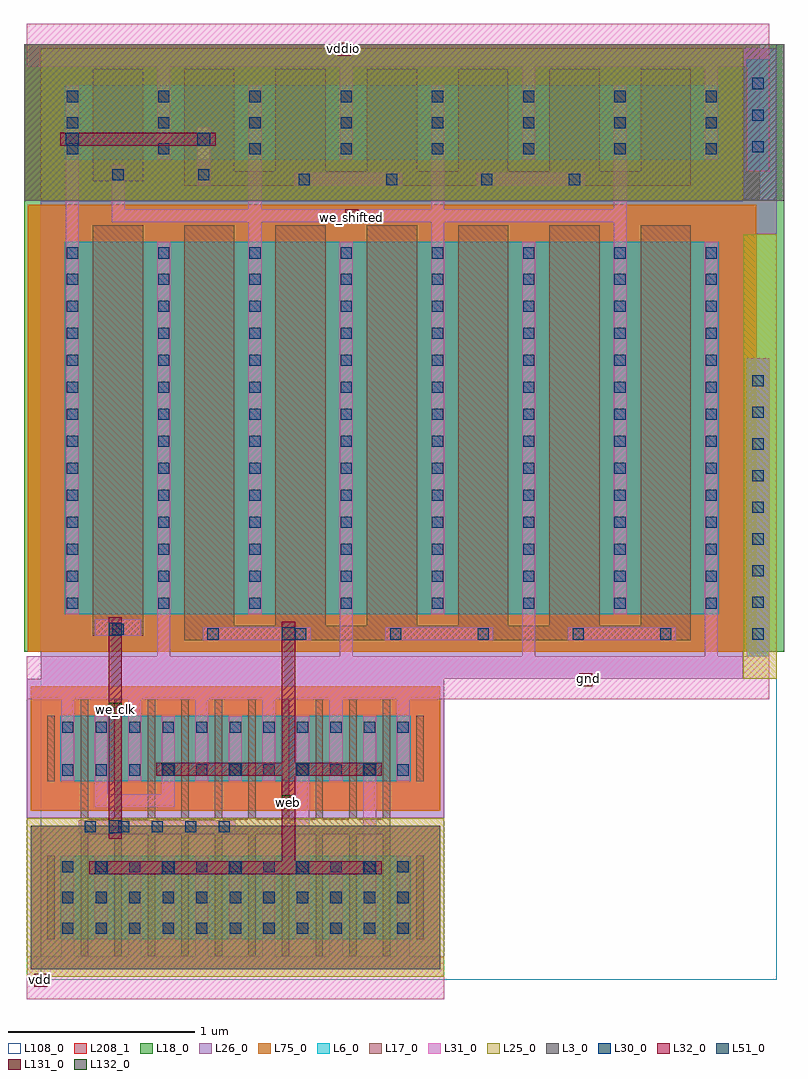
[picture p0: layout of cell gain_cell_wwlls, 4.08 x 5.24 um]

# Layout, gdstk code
from math import pi, radians
import gdstk
lib = gdstk.Library(unit=1e-6, precision=1e-09)
def R(c, l, rs):  # rectangles x0, y0, x1, y1
    for r in rs: c.add(gdstk.rectangle(r[:2], r[2:], *l))
def A(c, l, x, y, w, h, nx, ny, dx, dy):  # array of equal rectangles
    R(c, l, [(x+i*dx, y+j*dy, x+i*dx+w, y+j*dy+h) for i in range(nx) for j in range(ny)])
L3_0 = (3, 0)
L6_0 = (6, 0)
L17_0 = (17, 0)
L18_0 = (18, 0)
L25_0 = (25, 0)
L26_0 = (26, 0)
L30_0 = (30, 0)
L31_0 = (31, 0)
L32_0 = (32, 0)
L51_0 = (51, 0)
L75_0 = (75, 0)
L108_0 = (108, 0)
L131_0 = (131, 0)
L132_0 = (132, 0)
L208_1 = (208, 1)

pch_mac_cdns_74492003394 = lib.new_cell('pch_mac_CDNS_744920033940')
R(pch_mac_cdns_74492003394, L3_0, [(-0.27,-0.16,1.93,0.61)])
R(pch_mac_cdns_74492003394, L6_0, [(-0.11,0,0,0.45), (0,0,0.04,0.45), (0.04,0,1.66,0.45), (1.66,0,1.77,0.45)])
A(pch_mac_cdns_74492003394, L17_0, 0, -0.09, 0.04, 0.09, 10, 2, 0.18, 0.54)
A(pch_mac_cdns_74492003394, L17_0, -0.18, 0, 0.04, 0.45, 12, 1, 0.18, 0)
R(pch_mac_cdns_74492003394, L25_0, [(-0.29,-0.2,-0.24,0.65), (-0.24,-0.2,1.9,0.65), (1.9,-0.2,1.95,0.65)])
A(pch_mac_cdns_74492003394, L30_0, -0.1, 0.03, 0.06, 0.06, 11, 3, 0.18, 0.165)
A(pch_mac_cdns_74492003394, L31_0, -0.105, 0, 0.07, 0.45, 11, 1, 0.18, 0)
R(pch_mac_cdns_74492003394, L208_1, [(-0.27,-0.16,1.93,0.61)])
pch_mac_cdns_74492003394.add(gdstk.Label('& SerialNumber 000000', (0,0), layer=63, texttype=63))
pch_mac_cdns_74492003394.add(gdstk.Label('& Distributor TSMC', (0,0), layer=63, texttype=63))
pch_mac_cdns_74492003394.add(gdstk.Label('& Metric 1', (0,0), layer=63, texttype=63))
pch_mac_cdns_74492003394.add(gdstk.Label('& PDK Version "tsmcN40_CRN40ULP_v1.5_2b_20200409"', (0,0), layer=63, texttype=63))
pch_mac_cdns_74492003394.add(gdstk.Label('& PDK TechNode "CRN40ULP"', (0,0), layer=63, texttype=63))
pch_mac_cdns_74492003394.add(gdstk.Label('& Product    tsmcN40_PDK', (0,0), layer=63, texttype=63))
pch_mac_cdns_74492003394.add(gdstk.Label('& Vendor     Taiwan Semiconductor manufacturing Corp.', (0,0), layer=63, texttype=63))
pch_mac_cdns_74492003394.add(gdstk.Label('[@instanceName]', (0.02,0.225), layer=127, texttype=0))
pch_mac_cdns_74492003394.add(gdstk.Label('4.5/0.04', (0,0), layer=127, texttype=0))
pch_mac_cdns_74492003394.add(gdstk.Label('pch_mac', (0,0.045), layer=127, texttype=0))
pch_mac_cdns_74492003394.add(gdstk.Label('D', (0.11,0.225), layer=127, texttype=0))
pch_mac_cdns_74492003394.add(gdstk.Label('S', (0.29,0.225), layer=127, texttype=0))
pch_mac_cdns_74492003394.add(gdstk.Label('D', (0.47,0.225), layer=127, texttype=0))
pch_mac_cdns_74492003394.add(gdstk.Label('S', (0.65,0.225), layer=127, texttype=0))
pch_mac_cdns_74492003394.add(gdstk.Label('D', (0.83,0.225), layer=127, texttype=0))
pch_mac_cdns_74492003394.add(gdstk.Label('S', (1.01,0.225), layer=127, texttype=0))
pch_mac_cdns_74492003394.add(gdstk.Label('D', (1.19,0.225), layer=127, texttype=0))
pch_mac_cdns_74492003394.add(gdstk.Label('S', (1.37,0.225), layer=127, texttype=0))
pch_mac_cdns_74492003394.add(gdstk.Label('D', (1.55,0.225), layer=127, texttype=0))
pch_mac_cdns_74492003394.add(gdstk.Label('S', (1.73,0.225), layer=127, texttype=0))
pch_mac_cdns_74492003394.add(gdstk.Label('S', (-0.07,0.225), layer=127, texttype=0))

nch_mac_cdns_74492003394 = lib.new_cell('nch_mac_CDNS_744920033941')
R(nch_mac_cdns_74492003394, L6_0, [(-0.11,0,0,0.35), (0,0,0.04,0.35), (0.04,0,1.66,0.35), (1.66,0,1.77,0.35)])
A(nch_mac_cdns_74492003394, L17_0, 0, -0.09, 0.04, 0.09, 10, 2, 0.18, 0.44)
A(nch_mac_cdns_74492003394, L17_0, -0.18, 0, 0.04, 0.35, 12, 1, 0.18, 0)
R(nch_mac_cdns_74492003394, L26_0, [(-0.29,-0.2,-0.24,0.55), (-0.24,-0.2,1.9,0.55), (1.9,-0.2,1.95,0.55)])
A(nch_mac_cdns_74492003394, L30_0, -0.1, 0.03, 0.06, 0.06, 11, 2, 0.18, 0.23)
A(nch_mac_cdns_74492003394, L31_0, -0.105, 0, 0.07, 0.35, 11, 1, 0.18, 0)
R(nch_mac_cdns_74492003394, L75_0, [(-0.27,-0.16,1.93,0.51)])
R(nch_mac_cdns_74492003394, L208_1, [(-0.27,-0.16,1.93,0.51)])
nch_mac_cdns_74492003394.add(gdstk.Label('& SerialNumber 000000', (0,0), layer=63, texttype=63))
nch_mac_cdns_74492003394.add(gdstk.Label('& Distributor TSMC', (0,0), layer=63, texttype=63))
nch_mac_cdns_74492003394.add(gdstk.Label('& Metric 1', (0,0), layer=63, texttype=63))
nch_mac_cdns_74492003394.add(gdstk.Label('& PDK Version "tsmcN40_CRN40ULP_v1.5_2b_20200409"', (0,0), layer=63, texttype=63))
nch_mac_cdns_74492003394.add(gdstk.Label('& PDK TechNode "CRN40ULP"', (0,0), layer=63, texttype=63))
nch_mac_cdns_74492003394.add(gdstk.Label('& Product    tsmcN40_PDK', (0,0), layer=63, texttype=63))
nch_mac_cdns_74492003394.add(gdstk.Label('& Vendor     Taiwan Semiconductor manufacturing Corp.', (0,0), layer=63, texttype=63))
nch_mac_cdns_74492003394.add(gdstk.Label('[@instanceName]', (0.02,0.175), layer=127, texttype=0))
nch_mac_cdns_74492003394.add(gdstk.Label('3.5/0.04', (0,0), layer=127, texttype=0))
nch_mac_cdns_74492003394.add(gdstk.Label('nch_mac', (0,0.045), layer=127, texttype=0))
nch_mac_cdns_74492003394.add(gdstk.Label('D', (0.11,0.175), layer=127, texttype=0))
nch_mac_cdns_74492003394.add(gdstk.Label('S', (0.29,0.175), layer=127, texttype=0))
nch_mac_cdns_74492003394.add(gdstk.Label('D', (0.47,0.175), layer=127, texttype=0))
nch_mac_cdns_74492003394.add(gdstk.Label('S', (0.65,0.175), layer=127, texttype=0))
nch_mac_cdns_74492003394.add(gdstk.Label('D', (0.83,0.175), layer=127, texttype=0))
nch_mac_cdns_74492003394.add(gdstk.Label('S', (1.01,0.175), layer=127, texttype=0))
nch_mac_cdns_74492003394.add(gdstk.Label('D', (1.19,0.175), layer=127, texttype=0))
nch_mac_cdns_74492003394.add(gdstk.Label('S', (1.37,0.175), layer=127, texttype=0))
nch_mac_cdns_74492003394.add(gdstk.Label('D', (1.55,0.175), layer=127, texttype=0))
nch_mac_cdns_74492003394.add(gdstk.Label('S', (1.73,0.175), layer=127, texttype=0))
nch_mac_cdns_74492003394.add(gdstk.Label('S', (-0.07,0.175), layer=127, texttype=0))

pch_25_mac_cdns_74492003 = lib.new_cell('pch_25_mac_CDNS_744920033942')
R(pch_25_mac_cdns_74492003, L3_0, [(-0.37,-0.22,0.64,0.62)])
R(pch_25_mac_cdns_74492003, L6_0, [(-0.15,0,0,0.4), (0,0,0.27,0.4), (0.27,0,0.42,0.4)])
R(pch_25_mac_cdns_74492003, L17_0, [(0,-0.09,0.27,0), (0,0,0.27,0.4), (0,0.4,0.27,0.49)])
R(pch_25_mac_cdns_74492003, L18_0, [(-0.37,-0.22,0.64,0.62)])
R(pch_25_mac_cdns_74492003, L25_0, [(-0.28,-0.2,0.55,0.6)])
A(pch_25_mac_cdns_74492003, L30_0, -0.14, 0.03, 0.06, 0.06, 1, 3, 0, 0.14)
A(pch_25_mac_cdns_74492003, L30_0, 0.35, 0.03, 0.06, 0.06, 1, 3, 0, 0.14)
R(pch_25_mac_cdns_74492003, L31_0, [(-0.145,0,-0.075,0.4), (0.345,0,0.415,0.4)])
R(pch_25_mac_cdns_74492003, L208_1, [(-0.37,-0.22,0.64,0.62)])
pch_25_mac_cdns_74492003.add(gdstk.Label('& SerialNumber 000000', (0,0), layer=63, texttype=63))
pch_25_mac_cdns_74492003.add(gdstk.Label('& Distributor TSMC', (0,0), layer=63, texttype=63))
pch_25_mac_cdns_74492003.add(gdstk.Label('& Metric 1', (0,0), layer=63, texttype=63))
pch_25_mac_cdns_74492003.add(gdstk.Label('& PDK Version "tsmcN40_CRN40ULP_v1.5_2b_20200409"', (0,0), layer=63, texttype=63))
pch_25_mac_cdns_74492003.add(gdstk.Label('& PDK TechNode "CRN40ULP"', (0,0), layer=63, texttype=63))
pch_25_mac_cdns_74492003.add(gdstk.Label('& Product    tsmcN40_PDK', (0,0), layer=63, texttype=63))
pch_25_mac_cdns_74492003.add(gdstk.Label('& Vendor     Taiwan Semiconductor manufacturing Corp.', (0,0), layer=63, texttype=63))
pch_25_mac_cdns_74492003.add(gdstk.Label('[@instanceName]', (0.135,0.2), layer=127, texttype=0))
pch_25_mac_cdns_74492003.add(gdstk.Label('0.4/0.27', (0,0), layer=127, texttype=0))
pch_25_mac_cdns_74492003.add(gdstk.Label('pch_25_mac', (0,0.045), layer=127, texttype=0))
pch_25_mac_cdns_74492003.add(gdstk.Label('D', (0.38,0.2), layer=127, texttype=0))
pch_25_mac_cdns_74492003.add(gdstk.Label('S', (-0.11,0.2), layer=127, texttype=0))

nch_25_mac_cdns_74492003 = lib.new_cell('nch_25_mac_CDNS_744920033943')
R(nch_25_mac_cdns_74492003, L6_0, [(-0.15,0,0,2), (0,0,0.27,2), (0.27,0,0.42,2)])
R(nch_25_mac_cdns_74492003, L17_0, [(0,-0.09,0.27,0), (0,0,0.27,2), (0,2,0.27,2.09)])
R(nch_25_mac_cdns_74492003, L18_0, [(-0.35,-0.2,0.62,2.2)])
R(nch_25_mac_cdns_74492003, L26_0, [(-0.28,-0.2,0.55,2.2)])
A(nch_25_mac_cdns_74492003, L30_0, -0.14, 0.03, 0.06, 0.06, 1, 13, 0, 0.145)
A(nch_25_mac_cdns_74492003, L30_0, 0.35, 0.03, 0.06, 0.06, 1, 13, 0, 0.145)
R(nch_25_mac_cdns_74492003, L30_0, [(-0.14,1.91,-0.08,1.97), (0.35,1.91,0.41,1.97)])
R(nch_25_mac_cdns_74492003, L31_0, [(-0.145,0,-0.075,2), (0.345,0,0.415,2)])
R(nch_25_mac_cdns_74492003, L75_0, [(-0.35,-0.2,0.62,2.2)])
R(nch_25_mac_cdns_74492003, L208_1, [(-0.35,-0.2,0.62,2.2)])
nch_25_mac_cdns_74492003.add(gdstk.Label('& SerialNumber 000000', (0,0), layer=63, texttype=63))
nch_25_mac_cdns_74492003.add(gdstk.Label('& Distributor TSMC', (0,0), layer=63, texttype=63))
nch_25_mac_cdns_74492003.add(gdstk.Label('& Metric 1', (0,0), layer=63, texttype=63))
nch_25_mac_cdns_74492003.add(gdstk.Label('& PDK Version "tsmcN40_CRN40ULP_v1.5_2b_20200409"', (0,0), layer=63, texttype=63))
nch_25_mac_cdns_74492003.add(gdstk.Label('& PDK TechNode "CRN40ULP"', (0,0), layer=63, texttype=63))
nch_25_mac_cdns_74492003.add(gdstk.Label('& Product    tsmcN40_PDK', (0,0), layer=63, texttype=63))
nch_25_mac_cdns_74492003.add(gdstk.Label('& Vendor     Taiwan Semiconductor manufacturing Corp.', (0,0), layer=63, texttype=63))
nch_25_mac_cdns_74492003.add(gdstk.Label('[@instanceName]', (0.135,1), layer=127, texttype=0))
nch_25_mac_cdns_74492003.add(gdstk.Label('2.0/0.27', (0,0), layer=127, texttype=0))
nch_25_mac_cdns_74492003.add(gdstk.Label('nch_25_mac', (0,0.045), layer=127, texttype=0))
nch_25_mac_cdns_74492003.add(gdstk.Label('D', (0.38,1), layer=127, texttype=0))
nch_25_mac_cdns_74492003.add(gdstk.Label('S', (-0.11,1), layer=127, texttype=0))

c_nch_25_mac_cdns_74492003 = lib.new_cell('nch_25_mac_CDNS_744920033944')
R(c_nch_25_mac_cdns_74492003, L6_0, [(-0.15,0,0,2), (0,0,0.27,2), (0.27,0,2.72,2), (2.72,0,2.87,2)])
A(c_nch_25_mac_cdns_74492003, L17_0, 0, -0.09, 0.27, 0.09, 6, 2, 0.49, 2.09)
A(c_nch_25_mac_cdns_74492003, L17_0, 0, 0, 0.27, 2, 6, 1, 0.49, 0)
R(c_nch_25_mac_cdns_74492003, L18_0, [(-0.35,-0.2,3.07,2.2)])
R(c_nch_25_mac_cdns_74492003, L26_0, [(-0.28,-0.2,3,2.2)])
A(c_nch_25_mac_cdns_74492003, L30_0, -0.14, 0.03, 0.06, 0.06, 7, 13, 0.49, 0.145)
A(c_nch_25_mac_cdns_74492003, L30_0, -0.14, 1.91, 0.06, 0.06, 7, 1, 0.49, 0)
A(c_nch_25_mac_cdns_74492003, L31_0, -0.145, 0, 0.07, 2, 7, 1, 0.49, 0)
R(c_nch_25_mac_cdns_74492003, L75_0, [(-0.35,-0.2,3.07,2.2)])
R(c_nch_25_mac_cdns_74492003, L208_1, [(-0.35,-0.2,3.07,2.2)])
c_nch_25_mac_cdns_74492003.add(gdstk.Label('& SerialNumber 000000', (0,0), layer=63, texttype=63))
c_nch_25_mac_cdns_74492003.add(gdstk.Label('& Distributor TSMC', (0,0), layer=63, texttype=63))
c_nch_25_mac_cdns_74492003.add(gdstk.Label('& Metric 1', (0,0), layer=63, texttype=63))
c_nch_25_mac_cdns_74492003.add(gdstk.Label('& PDK Version "tsmcN40_CRN40ULP_v1.5_2b_20200409"', (0,0), layer=63, texttype=63))
c_nch_25_mac_cdns_74492003.add(gdstk.Label('& PDK TechNode "CRN40ULP"', (0,0), layer=63, texttype=63))
c_nch_25_mac_cdns_74492003.add(gdstk.Label('& Product    tsmcN40_PDK', (0,0), layer=63, texttype=63))
c_nch_25_mac_cdns_74492003.add(gdstk.Label('& Vendor     Taiwan Semiconductor manufacturing Corp.', (0,0), layer=63, texttype=63))
c_nch_25_mac_cdns_74492003.add(gdstk.Label('[@instanceName]', (0.135,1), layer=127, texttype=0))
c_nch_25_mac_cdns_74492003.add(gdstk.Label('12.0/0.27', (0,0), layer=127, texttype=0))
c_nch_25_mac_cdns_74492003.add(gdstk.Label('nch_25_mac', (0,0.045), layer=127, texttype=0))
c_nch_25_mac_cdns_74492003.add(gdstk.Label('D', (0.38,1), layer=127, texttype=0))
c_nch_25_mac_cdns_74492003.add(gdstk.Label('S', (0.87,1), layer=127, texttype=0))
c_nch_25_mac_cdns_74492003.add(gdstk.Label('D', (1.36,1), layer=127, texttype=0))
c_nch_25_mac_cdns_74492003.add(gdstk.Label('S', (1.85,1), layer=127, texttype=0))
c_nch_25_mac_cdns_74492003.add(gdstk.Label('D', (2.34,1), layer=127, texttype=0))
c_nch_25_mac_cdns_74492003.add(gdstk.Label('S', (2.83,1), layer=127, texttype=0))
c_nch_25_mac_cdns_74492003.add(gdstk.Label('S', (-0.11,1), layer=127, texttype=0))

m2_m1c_cdns_744920033945 = lib.new_cell('M2_M1c_CDNS_744920033945')
R(m2_m1c_cdns_744920033945, L31_0, [(-0.035,-0.065,0.035,0.065)])
R(m2_m1c_cdns_744920033945, L32_0, [(-0.065,-0.035,0.065,0.035)])
R(m2_m1c_cdns_744920033945, L51_0, [(-0.035,-0.035,0.035,0.035)])

c_pch_25_mac_cdns_74492003 = lib.new_cell('pch_25_mac_CDNS_744920033946')
R(c_pch_25_mac_cdns_74492003, L3_0, [(-0.37,-0.22,3.09,0.62)])
R(c_pch_25_mac_cdns_74492003, L6_0, [(-0.15,0,0,0.4), (0,0,0.27,0.4), (0.27,0,2.72,0.4), (2.72,0,2.87,0.4)])
A(c_pch_25_mac_cdns_74492003, L17_0, 0, -0.09, 0.27, 0.09, 6, 2, 0.49, 0.49)
A(c_pch_25_mac_cdns_74492003, L17_0, 0, 0, 0.27, 0.4, 6, 1, 0.49, 0)
R(c_pch_25_mac_cdns_74492003, L18_0, [(-0.37,-0.22,3.09,0.62)])
R(c_pch_25_mac_cdns_74492003, L25_0, [(-0.28,-0.2,3,0.6)])
A(c_pch_25_mac_cdns_74492003, L30_0, -0.14, 0.03, 0.06, 0.06, 7, 3, 0.49, 0.14)
A(c_pch_25_mac_cdns_74492003, L31_0, -0.145, 0, 0.07, 0.4, 7, 1, 0.49, 0)
R(c_pch_25_mac_cdns_74492003, L208_1, [(-0.37,-0.22,3.09,0.62)])
c_pch_25_mac_cdns_74492003.add(gdstk.Label('& SerialNumber 000000', (0,0), layer=63, texttype=63))
c_pch_25_mac_cdns_74492003.add(gdstk.Label('& Distributor TSMC', (0,0), layer=63, texttype=63))
c_pch_25_mac_cdns_74492003.add(gdstk.Label('& Metric 1', (0,0), layer=63, texttype=63))
c_pch_25_mac_cdns_74492003.add(gdstk.Label('& PDK Version "tsmcN40_CRN40ULP_v1.5_2b_20200409"', (0,0), layer=63, texttype=63))
c_pch_25_mac_cdns_74492003.add(gdstk.Label('& PDK TechNode "CRN40ULP"', (0,0), layer=63, texttype=63))
c_pch_25_mac_cdns_74492003.add(gdstk.Label('& Product    tsmcN40_PDK', (0,0), layer=63, texttype=63))
c_pch_25_mac_cdns_74492003.add(gdstk.Label('& Vendor     Taiwan Semiconductor manufacturing Corp.', (0,0), layer=63, texttype=63))
c_pch_25_mac_cdns_74492003.add(gdstk.Label('[@instanceName]', (0.135,0.2), layer=127, texttype=0))
c_pch_25_mac_cdns_74492003.add(gdstk.Label('2.4/0.27', (0,0), layer=127, texttype=0))
c_pch_25_mac_cdns_74492003.add(gdstk.Label('pch_25_mac', (0,0.045), layer=127, texttype=0))
c_pch_25_mac_cdns_74492003.add(gdstk.Label('D', (0.38,0.2), layer=127, texttype=0))
c_pch_25_mac_cdns_74492003.add(gdstk.Label('S', (0.87,0.2), layer=127, texttype=0))
c_pch_25_mac_cdns_74492003.add(gdstk.Label('D', (1.36,0.2), layer=127, texttype=0))
c_pch_25_mac_cdns_74492003.add(gdstk.Label('S', (1.85,0.2), layer=127, texttype=0))
c_pch_25_mac_cdns_74492003.add(gdstk.Label('D', (2.34,0.2), layer=127, texttype=0))
c_pch_25_mac_cdns_74492003.add(gdstk.Label('S', (2.83,0.2), layer=127, texttype=0))
c_pch_25_mac_cdns_74492003.add(gdstk.Label('S', (-0.11,0.2), layer=127, texttype=0))

m1_od_cdns_744920033940 = lib.new_cell('M1_OD_CDNS_744920033940')
R(m1_od_cdns_744920033940, L6_0, [(-0.06,-0.3,0.06,0.3)])
A(m1_od_cdns_744920033940, L30_0, -0.03, -0.2, 0.06, 0.06, 1, 3, 0, 0.17)
R(m1_od_cdns_744920033940, L31_0, [(-0.06,-0.3,0.06,0.3)])

m1_od_cdns_744920033941 = lib.new_cell('M1_OD_CDNS_744920033941')
R(m1_od_cdns_744920033941, L6_0, [(-0.06,-0.8,0.06,0.8)])
A(m1_od_cdns_744920033941, L30_0, -0.03, -0.71, 0.06, 0.06, 1, 9, 0, 0.17)
R(m1_od_cdns_744920033941, L31_0, [(-0.06,-0.8,0.06,0.8)])

gain_cell_wwlls = lib.new_cell('gain_cell_wwlls')
R(gain_cell_wwlls, L3_0, [(3.86,4.405,3.99,5.245), (3.86,4.485,3.99,5.245)])
A(gain_cell_wwlls, L17_0, 0.215, 0.955, 0.04, 0.275, 10, 1, 0.18, 0)
A(gain_cell_wwlls, L17_0, 0.29, 2.07, 0.25, 0.025, 4, 1, 0.98, 0)
R(gain_cell_wwlls, L17_0, [(0.215,1.005,1.875,1.085), (0.77,2.045,3.49,2.125), (0.28,2.07,0.55,2.095), (0.77,4.485,3.49,4.565), (0.28,4.51,0.55,4.535), (0.29,4.51,0.54,4.535), (1.76,4.51,2.01,4.535), (2.74,4.51,2.99,4.535)])
R(gain_cell_wwlls, L18_0, [(-0.09,1.985,-0.07,4.385), (3.84,1.985,3.99,3.905), (3.84,3.905,3.99,5.245), (-0.09,4.385,3.86,4.405)])
R(gain_cell_wwlls, L25_0, [(3.77,1.84,3.95,3.725), (3.77,3.725,3.95,4.225), (0,4.405,3.77,4.425)])
R(gain_cell_wwlls, L26_0, [(0,1.84,3.77,1.985), (3.77,4.225,3.95,5.225), (0,4.385,3.77,4.405)])
A(gain_cell_wwlls, L30_0, 0.235, 1.015, 0.06, 0.06, 5, 1, 0.18, 0)
R(gain_cell_wwlls, L30_0, [(0.895,2.05,0.955,2.11), (1.365,2.05,1.425,2.11), (1.875,2.05,1.935,2.11), (2.345,2.05,2.405,2.11), (2.855,2.05,2.915,2.11), (3.325,2.05,3.385,2.11), (0.385,2.075,0.445,2.135), (1.385,4.49,1.445,4.55), (1.855,4.49,1.915,4.55), (2.365,4.49,2.425,4.55), (2.835,4.49,2.895,4.55), (0.385,4.515,0.445,4.575), (0.845,4.515,0.905,4.575)])
A(gain_cell_wwlls, L31_0, 0.11, 0.28, 0.07, 0.21, 6, 2, 0.36, 1.31)
A(gain_cell_wwlls, L31_0, 0.625, 1.945, 0.07, 0.28, 4, 1, 0.98, 0)
A(gain_cell_wwlls, L31_0, 0.87, 2.045, 0.58, 0.07, 3, 1, 0.98, 0)
A(gain_cell_wwlls, L31_0, 0.135, 4.15, 0.07, 0.5, 4, 1, 0.98, 0)
A(gain_cell_wwlls, L31_0, 0.625, 5.01, 0.07, 0.14, 4, 1, 0.98, 0)
R(gain_cell_wwlls, L31_0, [(-0.075,0.12,2.165,0.35), (1.73,0.87,1.8,1.305), (1.37,0.875,1.44,1.305), (0.205,1.01,1.045,1.08), (0.29,1.15,0.72,1.22), (0.65,1.195,0.72,1.305), (0.29,1.2,0.36,1.305), (-0.075,1.73,3.84,1.96), (3.825,1.73,3.91,1.96), (0.29,2.07,0.54,2.16), (0.38,4.29,0.45,4.6), (0.38,4.29,3.145,4.36), (1.36,4.485,1.94,4.555), (2.34,4.485,2.92,4.555), (0.84,4.49,0.91,4.8), (-0.075,5.125,3.84,5.355), (3.84,5.125,3.91,5.355)])
R(gain_cell_wwlls, L32_0, [(0.375,0.79,1.72,0.86), (1.295,0.805,1.365,2.13), (0.365,1.09,0.435,2.055), (0.645,1.32,1.745,1.39), (0.17,4.7,0.835,4.77)])
R(gain_cell_wwlls, L108_0, [(0,0.225,3.95,5.245)])
R(gain_cell_wwlls, L131_0, [(-0.035,0.185,0.035,0.255), (2.89,1.8,2.96,1.87), (1.635,4.29,1.705,4.36), (1.595,5.185,1.665,5.255)])
R(gain_cell_wwlls, L132_0, [(1.295,1.145,1.365,1.215), (0.365,1.64,0.435,1.71)])
gain_cell_wwlls.add(gdstk.Reference(pch_mac_cdns_74492003394, (0.215,0.89), x_reflection=True))
gain_cell_wwlls.add(gdstk.Reference(nch_mac_cdns_74492003394, (0.215,1.64), x_reflection=True))
gain_cell_wwlls.add(gdstk.Reference(pch_25_mac_cdns_74492003, (0.28,4.625)))
gain_cell_wwlls.add(gdstk.Reference(nch_25_mac_cdns_74492003, (0.28,2.185)))
gain_cell_wwlls.add(gdstk.Reference(c_nch_25_mac_cdns_74492003, (0.77,2.185)))
gain_cell_wwlls.add(gdstk.Reference(m2_m1c_cdns_744920033945, (1.765,1.355)))
gain_cell_wwlls.add(gdstk.Reference(m2_m1c_cdns_744920033945, (1.405,1.355)))
gain_cell_wwlls.add(gdstk.Reference(m2_m1c_cdns_744920033945, (1.045,1.355)))
gain_cell_wwlls.add(gdstk.Reference(m2_m1c_cdns_744920033945, (1.33,2.08), rotation=pi/2))
gain_cell_wwlls.add(gdstk.Reference(m2_m1c_cdns_744920033945, (1.765,0.825)))
gain_cell_wwlls.add(gdstk.Reference(m2_m1c_cdns_744920033945, (1.405,0.825)))
gain_cell_wwlls.add(gdstk.Reference(m2_m1c_cdns_744920033945, (0.4,1.045), rotation=3*pi/2))
gain_cell_wwlls.add(gdstk.Reference(m2_m1c_cdns_744920033945, (0.685,1.355)))
gain_cell_wwlls.add(gdstk.Reference(m2_m1c_cdns_744920033945, (1.045,0.825)))
gain_cell_wwlls.add(gdstk.Reference(m2_m1c_cdns_744920033945, (0.685,0.825)))
gain_cell_wwlls.add(gdstk.Reference(m2_m1c_cdns_744920033945, (0.325,0.825)))
gain_cell_wwlls.add(gdstk.Reference(m2_m1c_cdns_744920033945, (0.17,4.735)))
gain_cell_wwlls.add(gdstk.Reference(m2_m1c_cdns_744920033945, (0.875,4.735)))
gain_cell_wwlls.add(gdstk.Reference(m2_m1c_cdns_744920033945, (0.4,2.105), rotation=3*pi/2))
gain_cell_wwlls.add(gdstk.Reference(c_pch_25_mac_cdns_74492003, (0.77,4.625)))
gain_cell_wwlls.add(gdstk.Reference(m1_od_cdns_744920033940, (3.85,4.865)))
gain_cell_wwlls.add(gdstk.Reference(m1_od_cdns_744920033941, (3.85,2.76)))
gain_cell_wwlls.add(gdstk.Label('web', (1.33,1.175), layer=132, texttype=0))
gain_cell_wwlls.add(gdstk.Label('we_clk', (0.4,1.675), layer=132, texttype=0))
gain_cell_wwlls.add(gdstk.Label('gnd', (2.94,1.84), layer=131, texttype=0))
gain_cell_wwlls.add(gdstk.Label('vdd', (0,0.225), layer=131, texttype=0))
gain_cell_wwlls.add(gdstk.Label('we_shifted', (1.67,4.315), layer=131, texttype=0))
gain_cell_wwlls.add(gdstk.Label('vddio', (1.625,5.225), layer=131, texttype=0))

lib.write_gds('gain_cell_wwlls.gds')
